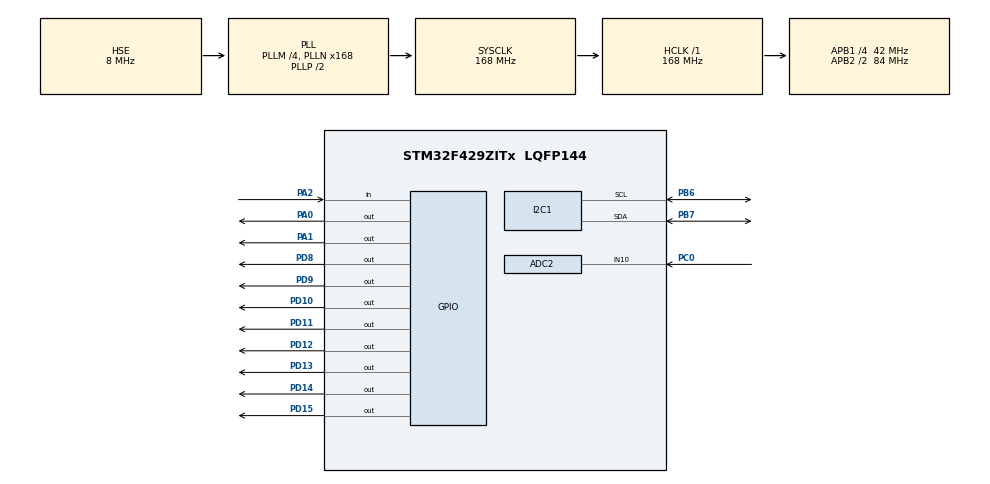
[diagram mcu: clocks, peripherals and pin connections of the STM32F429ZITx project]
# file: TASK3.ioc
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ADC2.Channel-1\#ChannelRegularConversion=ADC_CHANNEL_10
ADC2.ContinuousConvMode=ENABLE
ADC2.NbrOfConversionFlag=1
ADC2.Rank-1\#ChannelRegularConversion=1
ADC2.SamplingTime-1\#ChannelRegularConversion=ADC_SAMPLETIME_3CYCLES
Mcu.Family=STM32F4
Mcu.Name=STM32F429ZITx
Mcu.Package=LQFP144
NVIC.PriorityGroup=NVIC_PRIORITYGROUP_4
NVIC.TIM2_IRQn=true\:0\:0\:false\:false\:true\:true\:true
PA0/WKUP.GPIO_Speed=GPIO_SPEED_FREQ_VERY_HIGH
PA0/WKUP.Signal=GPIO_Output
PA1.GPIO_Speed=GPIO_SPEED_FREQ_VERY_HIGH
PA1.Signal=GPIO_Output
PA2.Signal=GPIO_Input
PB6.Mode=I2C
PB6.Signal=I2C1_SCL
PB7.Mode=I2C
PB7.Signal=I2C1_SDA
PC0.Signal=ADCx_IN10
PD10.GPIO_Speed=GPIO_SPEED_FREQ_VERY_HIGH
PD10.Signal=GPIO_Output
PD11.GPIO_Speed=GPIO_SPEED_FREQ_VERY_HIGH
PD11.Signal=GPIO_Output
PD12.GPIO_Speed=GPIO_SPEED_FREQ_VERY_HIGH
PD12.Signal=GPIO_Output
PD13.GPIO_Speed=GPIO_SPEED_FREQ_VERY_HIGH
PD13.Signal=GPIO_Output
PD14.GPIO_Speed=GPIO_SPEED_FREQ_VERY_HIGH
PD14.Signal=GPIO_Output
PD15.GPIO_Speed=GPIO_SPEED_FREQ_VERY_HIGH
PD15.Signal=GPIO_Output
PD8.GPIO_Speed=GPIO_SPEED_FREQ_VERY_HIGH
PD8.Signal=GPIO_Output
PD9.GPIO_Speed=GPIO_SPEED_FREQ_VERY_HIGH
PD9.Signal=GPIO_Output
PH0/OSC_IN.Mode=HSE-External-Oscillator
PH0/OSC_IN.Signal=RCC_OSC_IN
PH1/OSC_OUT.Mode=HSE-External-Oscillator
PH1/OSC_OUT.Signal=RCC_OSC_OUT
ProjectManager.HeapSize=0x200
ProjectManager.StackSize=0x400
ProjectManager.TargetToolchain=EWARM V8.32
RCC.48MHZClocksFreq_Value=84000000
RCC.AHBFreq_Value=168000000
RCC.APB1CLKDivider=RCC_HCLK_DIV4
RCC.APB1Freq_Value=42000000
RCC.APB1TimFreq_Value=84000000
RCC.APB2CLKDivider=RCC_HCLK_DIV2
RCC.APB2Freq_Value=84000000
RCC.APB2TimFreq_Value=168000000
RCC.CortexFreq_Value=168000000
RCC.HCLKFreq_Value=168000000
RCC.HSE_VALUE=8000000
RCC.HSI_VALUE=16000000
RCC.LSE_VALUE=32768
RCC.PLLM=4
RCC.PLLN=168
RCC.PLLSourceVirtual=RCC_PLLSOURCE_HSE
RCC.SYSCLKFreq_VALUE=168000000
RCC.SYSCLKSource=RCC_SYSCLKSOURCE_PLLCLK
RCC.VCOOutputFreq_Value=336000000
SH.ADCx_IN10.0=ADC2_IN10,IN10
TIM2.Period=105
TIM2.Prescaler=20000
VP_TIM2_VS_ClockSourceINT.Mode=Internal
board=custom

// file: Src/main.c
/* USER CODE BEGIN Header */
/**
  ******************************************************************************
  * @file           : main.c
  * @brief          : Main program body
  ******************************************************************************
  * @attention
  *
  * <h2><center>&copy; Copyright (c) 2020 STMicroelectronics.
  * All rights reserved.</center></h2>
  *
  * This software component is licensed by ST under BSD 3-Clause license,
  * the "License"; You may not use this file except in compliance with the
  * License. You may obtain a copy of the License at:
  *                        opensource.org/licenses/BSD-3-Clause
  *
  ******************************************************************************
  */
/* USER CODE END Header */

#include "main.h"

ADC_HandleTypeDef hadc2;

I2C_HandleTypeDef hi2c1;

TIM_HandleTypeDef htim2;

/* USER CODE BEGIN PV */
extern char temp_array[5];
/* USER CODE END PV */

void SystemClock_Config(void);
static void MX_GPIO_Init(void);
static void MX_ADC2_Init(void);
static void MX_TIM2_Init(void);
static void MX_I2C1_Init(void);

/* USER CODE BEGIN 0 */
void command(char i)
{
 GPIOD-> ODR = i << 8 ; //put data on output Port
 HAL_GPIO_WritePin(GPIOA,GPIO_PIN_0, GPIO_PIN_RESET); // D/I=LOW : send instruction
 HAL_GPIO_WritePin(GPIOA,GPIO_PIN_1, GPIO_PIN_SET); // E-> HIGH
 HAL_Delay(1);
 HAL_GPIO_WritePin(GPIOA,GPIO_PIN_1, GPIO_PIN_RESET); // E-> LOW
}
/**********************************************************/
void write(char i)
{
 GPIOD-> ODR = i << 8 ; //put data on output Port
 HAL_GPIO_WritePin(GPIOA,GPIO_PIN_0, GPIO_PIN_SET); // D/I=high : send data
 HAL_GPIO_WritePin(GPIOA,GPIO_PIN_1, GPIO_PIN_SET); // E-> HIGH
 HAL_Delay(1);
 HAL_GPIO_WritePin(GPIOA,GPIO_PIN_1, GPIO_PIN_RESET); // E-> LOW
}
/**********************************************************/
void init()
{
 HAL_GPIO_WritePin(GPIOA,GPIO_PIN_1, GPIO_PIN_RESET); // E-> LOW
 HAL_Delay(100); //Wait >40 msec after power is applied
 command(0x30); //command 0x30 = Wake up
 HAL_Delay(30); //must wait 5ms, busy flag not available
 command(0x30); //command 0x30 = Wake up #2
 HAL_Delay(10); //must wait 160us, busy flag not available
 command(0x30); //command 0x30 = Wake up #3
 HAL_Delay(10); //must wait 160us, busy flag not available
 command(0x38); //Function set: 8-bit/2-line
 command(0x10); //Set cursor
 command(0x0c); //Display ON; Cursor ON
 command(0x06); //Entry mode set
}
void clear(void) {
 GPIOD->ODR = 0x0000;
 HAL_GPIO_WritePin(GPIOA,GPIO_PIN_0, GPIO_PIN_SET); // D/I=high : send data
 HAL_GPIO_WritePin(GPIOA,GPIO_PIN_1, GPIO_PIN_SET); // E-> HIGH
 HAL_Delay(1);
 HAL_GPIO_WritePin(GPIOA,GPIO_PIN_1, GPIO_PIN_RESET); // E-> LOW
}
/**********************************************************/
void write_string(char *display_string) {
  clear();
  uint8_t flag = 0;
  for(uint8_t i = 0; i < 16; i++){
    if(flag == 0){
      write(display_string[i]);
    }
    else {
      write(0x00);
    }
    if(display_string[i] == '\0'){
      flag = 1;
    }
  }
}
/* USER CODE END 0 */

int main(void)
{
  /* USER CODE BEGIN 1 */
  uint8_t buf[12];
  buf[0] = 0x01;
  buf[1] = 0x60;
  /* USER CODE END 1 */
  /* MCU Configuration--------------------------------------------------------*/
  /* Reset of all peripherals, Initializes the Flash interface and the Systick. */
  HAL_Init();
  /* USER CODE BEGIN Init */
  init();
  /* USER CODE END Init */
  /* Configure the system clock */
  SystemClock_Config();
  /* Initialize all configured peripherals */
  MX_GPIO_Init();
  MX_ADC2_Init();
  MX_TIM2_Init();
  MX_I2C1_Init();
  /* USER CODE BEGIN 2 */
  HAL_ADC_Start_IT(&hadc2);
  HAL_TIM_Base_Start(&htim2);
   static void MX_I2C1_Init(void);
   if (HAL_I2C_Init(&hi2c1) != HAL_OK)
   if (HAL_I2CEx_ConfigAnalogFilter(&hi2c1, I2C_ANALOGFILTER_ENABLE) != HAL_OK)
   if (HAL_I2CEx_ConfigDigitalFilter(&hi2c1, 0) != HAL_OK)
   HAL_I2C_Master_Transmit(&hi2c1,0x48<<1,buf, 2, 100); //PARAMATERS: address,data, size, timeout
  /* USER CODE END 2 */
  /* Infinite loop */
  /* USER CODE BEGIN WHILE */
  while (1)
  {
   write_string(temp_array);
   HAL_Delay(250);
    /* USER CODE END WHILE */
  }
}

void SystemClock_Config(void)
{
  RCC_OscInitTypeDef RCC_OscInitStruct = {0};
  RCC_ClkInitTypeDef RCC_ClkInitStruct = {0};

  /** Configure the main internal regulator output voltage
  */
  __HAL_RCC_PWR_CLK_ENABLE();
  __HAL_PWR_VOLTAGESCALING_CONFIG(PWR_REGULATOR_VOLTAGE_SCALE1);
  /** Initializes the CPU, AHB and APB busses clocks
  */
  RCC_OscInitStruct.OscillatorType = RCC_OSCILLATORTYPE_HSE;
  RCC_OscInitStruct.HSEState = RCC_HSE_ON;
  RCC_OscInitStruct.PLL.PLLState = RCC_PLL_ON;
  RCC_OscInitStruct.PLL.PLLSource = RCC_PLLSOURCE_HSE;
  RCC_OscInitStruct.PLL.PLLM = 4;
  RCC_OscInitStruct.PLL.PLLN = 168;
  RCC_OscInitStruct.PLL.PLLP = RCC_PLLP_DIV2;
  RCC_OscInitStruct.PLL.PLLQ = 4;
  if (HAL_RCC_OscConfig(&RCC_OscInitStruct) != HAL_OK)
  {
    Error_Handler();
  }
  /** Initializes the CPU, AHB and APB busses clocks
  */
  RCC_ClkInitStruct.ClockType = RCC_CLOCKTYPE_HCLK|RCC_CLOCKTYPE_SYSCLK
                              |RCC_CLOCKTYPE_PCLK1|RCC_CLOCKTYPE_PCLK2;
  RCC_ClkInitStruct.SYSCLKSource = RCC_SYSCLKSOURCE_PLLCLK;
  RCC_ClkInitStruct.AHBCLKDivider = RCC_SYSCLK_DIV1;
  RCC_ClkInitStruct.APB1CLKDivider = RCC_HCLK_DIV4;
  RCC_ClkInitStruct.APB2CLKDivider = RCC_HCLK_DIV2;

  if (HAL_RCC_ClockConfig(&RCC_ClkInitStruct, FLASH_LATENCY_5) != HAL_OK)
  {
    Error_Handler();
  }
}

static void MX_ADC2_Init(void)
{

  ADC_ChannelConfTypeDef sConfig = {0};

  /** Configure the global features of the ADC (Clock, Resolution, Data Alignment and number of conversion)
  */
  hadc2.Instance = ADC2;
  hadc2.Init.ClockPrescaler = ADC_CLOCK_SYNC_PCLK_DIV4;
  hadc2.Init.Resolution = ADC_RESOLUTION_12B;
  hadc2.Init.ScanConvMode = DISABLE;
  hadc2.Init.ContinuousConvMode = ENABLE;
  hadc2.Init.DiscontinuousConvMode = DISABLE;
  hadc2.Init.ExternalTrigConvEdge = ADC_EXTERNALTRIGCONVEDGE_NONE;
  hadc2.Init.ExternalTrigConv = ADC_SOFTWARE_START;
  hadc2.Init.DataAlign = ADC_DATAALIGN_RIGHT;
  hadc2.Init.NbrOfConversion = 1;
  hadc2.Init.DMAContinuousRequests = DISABLE;
  hadc2.Init.EOCSelection = ADC_EOC_SINGLE_CONV;
  if (HAL_ADC_Init(&hadc2) != HAL_OK)
  {
    Error_Handler();
  }
  /** Configure for the selected ADC regular channel its corresponding rank in the sequencer and its sample time.
  */
  sConfig.Channel = ADC_CHANNEL_10;
  sConfig.Rank = 1;
  sConfig.SamplingTime = ADC_SAMPLETIME_3CYCLES;
  if (HAL_ADC_ConfigChannel(&hadc2, &sConfig) != HAL_OK)
  {
    Error_Handler();
  }

}

static void MX_I2C1_Init(void)
{

  hi2c1.Instance = I2C1;
  hi2c1.Init.ClockSpeed = 100000;
  hi2c1.Init.DutyCycle = I2C_DUTYCYCLE_2;
  hi2c1.Init.OwnAddress1 = 0;
  hi2c1.Init.AddressingMode = I2C_ADDRESSINGMODE_7BIT;
  hi2c1.Init.DualAddressMode = I2C_DUALADDRESS_DISABLE;
  hi2c1.Init.OwnAddress2 = 0;
  hi2c1.Init.GeneralCallMode = I2C_GENERALCALL_DISABLE;
  hi2c1.Init.NoStretchMode = I2C_NOSTRETCH_DISABLE;
  if (HAL_I2C_Init(&hi2c1) != HAL_OK)
  {
    Error_Handler();
  }
  /** Configure Analogue filter
  */
  if (HAL_I2CEx_ConfigAnalogFilter(&hi2c1, I2C_ANALOGFILTER_ENABLE) != HAL_OK)
  {
    Error_Handler();
  }
  /** Configure Digital filter
  */
  if (HAL_I2CEx_ConfigDigitalFilter(&hi2c1, 0) != HAL_OK)
  {
    Error_Handler();
  }

}

static void MX_TIM2_Init(void)
{

  TIM_ClockConfigTypeDef sClockSourceConfig = {0};
  TIM_MasterConfigTypeDef sMasterConfig = {0};

  htim2.Instance = TIM2;
  htim2.Init.Prescaler = 20000;
  htim2.Init.CounterMode = TIM_COUNTERMODE_UP;
  htim2.Init.Period = 105;
  htim2.Init.ClockDivision = TIM_CLOCKDIVISION_DIV1;
  htim2.Init.AutoReloadPreload = TIM_AUTORELOAD_PRELOAD_DISABLE;
  if (HAL_TIM_Base_Init(&htim2) != HAL_OK)
  {
    Error_Handler();
  }
  sClockSourceConfig.ClockSource = TIM_CLOCKSOURCE_INTERNAL;
  if (HAL_TIM_ConfigClockSource(&htim2, &sClockSourceConfig) != HAL_OK)
  {
    Error_Handler();
  }
  sMasterConfig.MasterOutputTrigger = TIM_TRGO_RESET;
  sMasterConfig.MasterSlaveMode = TIM_MASTERSLAVEMODE_DISABLE;
  if (HAL_TIMEx_MasterConfigSynchronization(&htim2, &sMasterConfig) != HAL_OK)
  {
    Error_Handler();
  }

}

static void MX_GPIO_Init(void)
{
  GPIO_InitTypeDef GPIO_InitStruct = {0};

  /* GPIO Ports Clock Enable */
  __HAL_RCC_GPIOH_CLK_ENABLE();
  __HAL_RCC_GPIOC_CLK_ENABLE();
  __HAL_RCC_GPIOA_CLK_ENABLE();
  __HAL_RCC_GPIOD_CLK_ENABLE();
  __HAL_RCC_GPIOB_CLK_ENABLE();

  /*Configure GPIO pin Output Level */
  HAL_GPIO_WritePin(GPIOA, GPIO_PIN_0|GPIO_PIN_1, GPIO_PIN_RESET);

  /*Configure GPIO pin Output Level */
  HAL_GPIO_WritePin(GPIOD, GPIO_PIN_8|GPIO_PIN_9|GPIO_PIN_10|GPIO_PIN_11
                          |GPIO_PIN_12|GPIO_PIN_13|GPIO_PIN_14|GPIO_PIN_15, GPIO_PIN_RESET);

  /*Configure GPIO pins : PA0 PA1 */
  GPIO_InitStruct.Pin = GPIO_PIN_0|GPIO_PIN_1;
  GPIO_InitStruct.Mode = GPIO_MODE_OUTPUT_PP;
  GPIO_InitStruct.Pull = GPIO_NOPULL;
  GPIO_InitStruct.Speed = GPIO_SPEED_FREQ_VERY_HIGH;
  HAL_GPIO_Init(GPIOA, &GPIO_InitStruct);

  /*Configure GPIO pin : PA2 */
  GPIO_InitStruct.Pin = GPIO_PIN_2;
  GPIO_InitStruct.Mode = GPIO_MODE_INPUT;
  GPIO_InitStruct.Pull = GPIO_NOPULL;
  HAL_GPIO_Init(GPIOA, &GPIO_InitStruct);

  /*Configure GPIO pins : PD8 PD9 PD10 PD11
                           PD12 PD13 PD14 PD15 */
  GPIO_InitStruct.Pin = GPIO_PIN_8|GPIO_PIN_9|GPIO_PIN_10|GPIO_PIN_11
                          |GPIO_PIN_12|GPIO_PIN_13|GPIO_PIN_14|GPIO_PIN_15;
  GPIO_InitStruct.Mode = GPIO_MODE_OUTPUT_PP;
  GPIO_InitStruct.Pull = GPIO_NOPULL;
  GPIO_InitStruct.Speed = GPIO_SPEED_FREQ_VERY_HIGH;
  HAL_GPIO_Init(GPIOD, &GPIO_InitStruct);

}

void Error_Handler(void)
{
}

/************************ (C) COPYRIGHT STMicroelectronics *****END OF FILE****/
